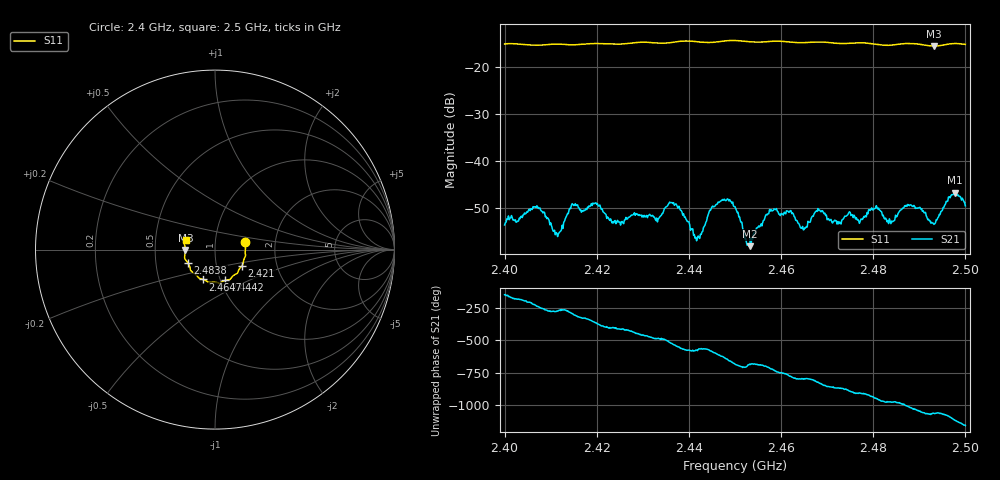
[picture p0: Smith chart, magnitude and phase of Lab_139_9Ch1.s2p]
# Hz S RI R 50
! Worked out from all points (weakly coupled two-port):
!   601 points, 2.4 GHz to 2.5 GHz, reference 50 ohm
!   highest |S21| = -46.69 dB at 2.4977 GHz (marker M1); lowest = -58.0 dB at 2.4532 GHz (marker M2)
!   lowest |S11| = -15.6 dB at 2.4932 GHz (marker M3), VSWR 1.40, Z = 35.8 - j0.104 ohm
!   |S11| at or under -10 dB: start of sweep to end of sweep
!   S12 and S22 are empty: the file has one direction only
!   S11 on the Smith chart (normalised r, x): 2.4 GHz: 1.40, +0.12; 2.421 GHz: 1.33, -0.24; 2.4442 GHz: 1.05, -0.37; 2.4647 GHz: 0.83, -0.28; 2.4838 GHz: 0.73, -0.11; 2.5 GHz: 0.71, +0.08
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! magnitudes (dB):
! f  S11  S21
! 2.4 GHz  -15.2  -53.5
! 2.4067 GHz  -15.5  -49.7
! 2.4115 GHz  -15.2  -56.0
! 2.4145 GHz  -15.4  -49.3
! 2.4167 GHz  -15.3  -50.8
! 2.421 GHz  -15.1  -50.2
! 2.4333 GHz  -15.0  -52.3
! 2.4368 GHz  -14.8  -49.4
! 2.4418 GHz  -14.7  -56.3
! 2.4442 GHz  -14.9  -51.4
! 2.45 GHz  -14.5  -49.6
! 2.4532 GHz  -14.7  -58.0
! 2.458 GHz  -14.6  -50.6
! 2.4647 GHz  -14.9  -53.8
! 2.4667 GHz  -14.8  -51.8
! 2.4807 GHz  -15.3  -49.4
! 2.4833 GHz  -15.5  -53.2
! 2.4838 GHz  -15.5  -53.2
! 2.4877 GHz  -15.1  -49.3
! 2.4932 GHz  -15.6  -53.4
! 2.4977 GHz  -15.1  -46.7
! 2.5 GHz  -15.3  -49.5
